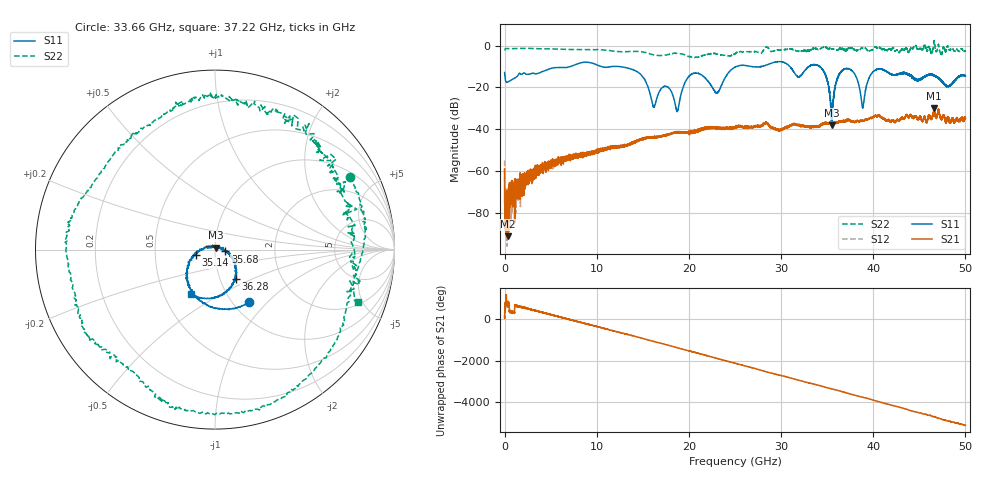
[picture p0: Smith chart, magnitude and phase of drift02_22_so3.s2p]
!Created with skrf (http://scikit-rf.org).
# Hz S RI R 50.0
!freq ReS11 ImS11 ReS21 ImS21 ReS12 ImS12 ReS22 ImS22
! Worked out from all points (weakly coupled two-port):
!   10001 points, 300 kHz to 50 GHz, reference 50 ohm
!   highest |S21| = -30.11 dB at 46.61 GHz (marker M1); lowest = -91.2 dB at 400.3 MHz (marker M2)
!   lowest |S11| = -38.3 dB at 35.51 GHz (marker M3), VSWR 1.02, Z = 50.6 + j1.09 ohm
!   |S11| at or under -10 dB: start of sweep to 7.178 GHz; 12.33 GHz to 25.18 GHz (12.85 GHz wide, 68.5 % of centre); 34.2 GHz to end of sweep (the widest 3 of 18)
!   |S22| runs from -5.7 to 2.4 dB; largest |S21 - S12| = 0.0032
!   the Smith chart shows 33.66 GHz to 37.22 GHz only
!   S11 on the Smith chart (normalised r, x): 33.66 GHz: 1.18, -0.79; 35.14 GHz: 0.81, -0.05; 35.68 GHz: 1.12, -0.02; 36.28 GHz: 1.18, -0.40; 37.22 GHz: 0.68, -0.37
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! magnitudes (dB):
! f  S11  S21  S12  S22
! 300 kHz  -12.9  -59.0  -55.0  -2.1
! 400.3 MHz  -17.3  -91.2  -77.4  -1.4
! 8.335 GHz  -8.2  -51.4  -52.9  -1.9
! 14.01 GHz  -11.7  -46.5  -46.2  -2.8
! 16.14 GHz  -29.3  -43.9  -43.7  -4.5
! 16.67 GHz  -23.2  -43.4  -43.8  -4.7
! 18.74 GHz  -31.5  -41.5  -41.4  -3.7
! 20.23 GHz  -13.9  -41.7  -41.7  -5.4
! 23.04 GHz  -22.7  -39.5  -39.4  -4.1
! 25 GHz  -10.4  -39.1  -39.3  -3.9
! 33.34 GHz  -9.3  -39.3  -38.9  -1.6
! 33.66 GHz  -9.1  -38.6  -38.8  -1.4
! 35.14 GHz  -19.1  -37.2  -37.3  -1.8
! 35.51 GHz  -38.3  -36.9  -37.1  -1.8
! 35.68 GHz  -24.7  -36.8  -36.7  -1.7
! 36.28 GHz  -14.0  -36.4  -36.5  -1.6
! 37.22 GHz  -11.0  -35.5  -35.3  -1.4
! 38.86 GHz  -29.8  -36.2  -35.9  -1.3
! 39.96 GHz  -12.7  -34.5  -34.4  -1.9
! 41.67 GHz  -13.0  -35.5  -35.8  -1.8
! 46.61 GHz  -14.1  -30.1  -29.8  2.4
! 50 GHz  -14.5  -34.8  -34.7  -2.6
